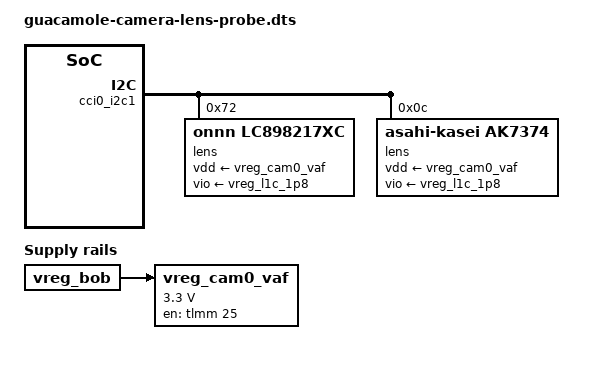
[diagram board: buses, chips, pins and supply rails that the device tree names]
// SPDX-License-Identifier: BSD-3-Clause
/*
 * Identification only: which focus actuator is on this unit's main camera.
 * Stock supports both: LC898217XC on Samsung Electro-Mechanics modules, AK7374
 * on O-Film ones (the 7T Pro's unit had the former, at 0x72). Applied after
 * guacamole-camera.dts with CCI bound, so the I2C core creates both clients;
 * the driver whose chip answers logs "ready". No lens-focus link, so neither
 * gets a subdevice node. Reboot to remove.
 */
/dts-v1/;
/plugin/;

#include <dt-bindings/gpio/gpio.h>

&tlmm {
	cam0_vaf_default: cam0-vaf-default-state {
		pins = "gpio25";
		function = "gpio";
		drive-strength = <2>;
		bias-disable;
	};
};

&{/} {
	/* GPIO25 switches the main camera's 3.3 V autofocus rail from BOB. */
	vreg_cam0_vaf: regulator-cam0-vaf {
		compatible = "regulator-fixed";
		regulator-name = "cam0_vaf";
		regulator-min-microvolt = <3300000>;
		regulator-max-microvolt = <3300000>;
		gpio = <&tlmm 25 GPIO_ACTIVE_HIGH>;
		enable-active-high;
		vin-supply = <&vreg_bob>;
		pinctrl-names = "default";
		pinctrl-0 = <&cam0_vaf_default>;
	};
};

&cci0_i2c1 {
	lens@72 {
		compatible = "onnn,lc898217xc";
		reg = <0x72>;
		vdd-supply = <&vreg_cam0_vaf>;
		vio-supply = <&vreg_l1c_1p8>;
		onnn,max-focus-position = <400>;
		onnn,default-focus-position = <400>;
	};

	lens@c {
		compatible = "asahi-kasei,ak7374";
		reg = <0x0c>;
		vdd-supply = <&vreg_cam0_vaf>;
		vio-supply = <&vreg_l1c_1p8>;
	};
};
